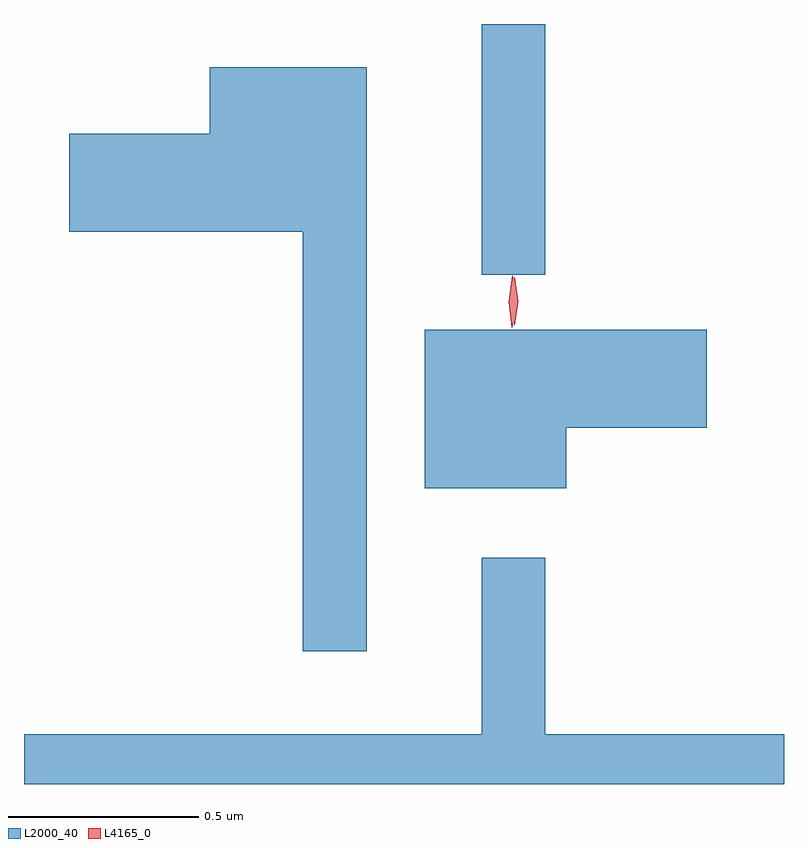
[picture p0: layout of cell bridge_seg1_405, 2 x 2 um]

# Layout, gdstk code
import gdstk
lib = gdstk.Library(unit=1e-6, precision=1e-09)
def R(c, l, rs):  # rectangles x0, y0, x1, y1
    for r in rs: c.add(gdstk.rectangle(r[:2], r[2:], *l))
def P(c, l, *ps):  # polygons
    for p in ps: c.add(gdstk.Polygon(p, *l))
L2000_40 = (2000, 40)
L4165_0 = (4165, 0)

bridge_seg1_405 = lib.new_cell('bridge_seg1_405')
R(bridge_seg1_405, L2000_40, [(603.031,941.013,603.199,941.673)])
P(bridge_seg1_405, L2000_40, [(602.729,941.559),(602.316,941.559),(602.316,941.384),(601.946,941.384),(601.946,941.126),(602.561,941.126),(602.561,940.023),(602.729,940.023)],
  [(603.254,940.611),(603.624,940.611),(603.624,940.869),(602.881,940.869),(602.881,940.451),(603.254,940.451)],
  [(603.827,939.804),(603.199,939.804),(603.199,940.268),(603.031,940.268),(603.031,939.804),(601.827,939.804),(601.827,939.673),(603.827,939.673)])
P(bridge_seg1_405, L4165_0, [(603.111,940.874),(603.111,940.874),(603.102,940.942),(603.112,941.01),(603.113,941.01),(603.113,941.01),(603.122,940.942),(603.112,940.874)],
  [(603.117,940.88),(603.108,940.943),(603.117,941.006),(603.118,941.007),(603.118,941.006),(603.128,940.943),(603.118,940.88),(603.118,940.88)])

lib.write_gds('bridge_seg1_405.gds')
